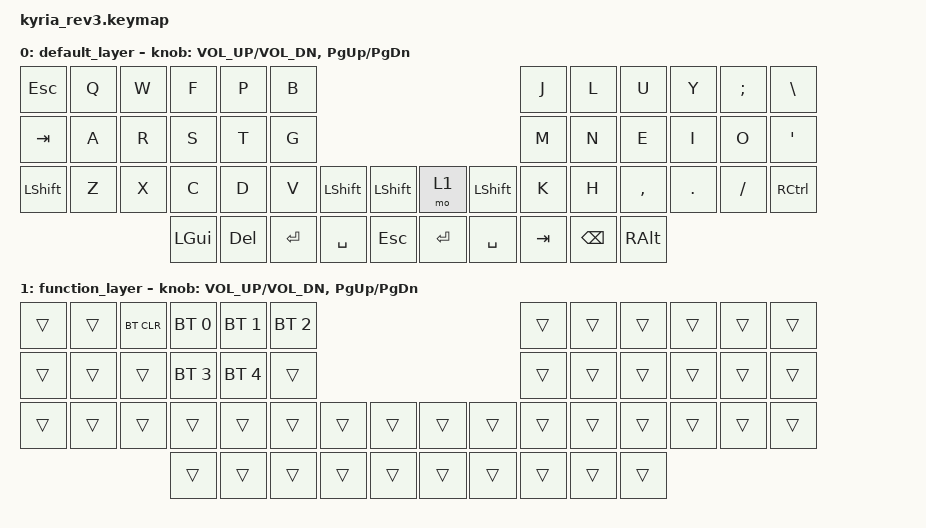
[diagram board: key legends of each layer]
/*
 * Copyright (c) 2023 The ZMK Contributors
 *
 * SPDX-License-Identifier: MIT
 */

#include <behaviors.dtsi>
#include <dt-bindings/zmk/bt.h>
#include <dt-bindings/zmk/keys.h>

/* Uncomment this block if using RGB
&led_strip {
    chain-length = <6>;
    // chain-length = <31>; // Uncomment if using both per-key and underglow LEDs
    // chain-length = <25>; // Uncomment if using only per-key LEDs.
};
 */

/ {
    keymap {
        compatible = "zmk,keymap";

        default_layer {
            // ---------------------------------------------------------------------------------------------------------------------------------
            // |  ESC  |  Q  |  W  |  E   |  R   |  T   |                                          |  Y   |  U    |  I    |  O   |   P   |   \  |
            // |  TAB  |  A  |  S  |  D   |  F   |  G   |                                          |  H   |  J    |  K    |  L   |   ;   |   '  |
            // | SHIFT |  Z  |  X  |  C   |  V   |  B   | L SHIFT | L SHIFT |  | LAYER 1 | L SHIFT |  N   |  M    |  ,    |  .   |   /   | CTRL |
            //                     | GUI  | DEL  | RET  |  SPACE  |   ESC   |  |   RET   |  SPACE  | TAB  | BSPC  | R-ALT |

            bindings = <
&kp ESC    &kp Q  &kp W  &kp F     &kp P    &kp B                                              &kp J    &kp L     &kp U      &kp Y    &kp SEMICOLON  &kp BSLH
&kp TAB    &kp A  &kp R  &kp S     &kp T    &kp G                                              &kp M    &kp N     &kp E      &kp I    &kp O          &kp SQT
&kp LSHFT  &kp Z  &kp X  &kp C     &kp D    &kp V    &kp LSHFT  &kp LSHFT  &mo 1    &kp LSHFT  &kp K    &kp H     &kp COMMA  &kp DOT  &kp FSLH       &kp RCTRL
                         &kp LGUI  &kp DEL  &kp RET  &kp SPACE  &kp ESC    &kp RET  &kp SPACE  &kp TAB  &kp BSPC  &kp RALT
            >;

            sensor-bindings = <&inc_dec_kp C_VOL_UP C_VOL_DN &inc_dec_kp PG_UP PG_DN>;
        };

        function_layer {
            // ---------------------------------------------------------------------------------------------------------------------------------
            // |       |      |BT_CLR|BTSEL0|BTSEL1|BTSEL2|                                         |      |      |      |      |      |      |
            // |       |      |      |BTSEL3|BTSEL4|      |                                         |      |      |      |      |      |      |
            // |       |      |      |      |      |      |      |      |      |      |      |      |      |      |      |      |      |      |
            //                       |      |      |      |      |      |      |      |      |      |      |      |      |

            bindings = <
&trans  &trans  &bt BT_CLR  &bt BT_SEL 0  &bt BT_SEL 1  &bt BT_SEL 2                                  &trans  &trans  &trans  &trans  &trans  &trans
&trans  &trans  &trans      &bt BT_SEL 3  &bt BT_SEL 4  &trans                                        &trans  &trans  &trans  &trans  &trans  &trans
&trans  &trans  &trans      &trans        &trans        &trans        &trans  &trans  &trans  &trans  &trans  &trans  &trans  &trans  &trans  &trans
                            &trans        &trans        &trans        &trans  &trans  &trans  &trans  &trans  &trans  &trans
            >;

            sensor-bindings = <&inc_dec_kp C_VOL_UP C_VOL_DN &inc_dec_kp PG_UP PG_DN>;
        };
    };
};
